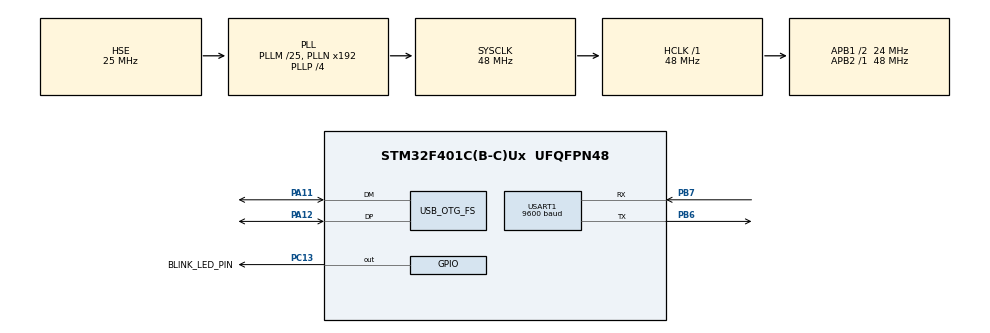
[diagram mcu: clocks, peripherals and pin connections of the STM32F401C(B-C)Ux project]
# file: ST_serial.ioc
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Mcu.Family=STM32F4
Mcu.Name=STM32F401C(B-C)Ux
Mcu.Package=UFQFPN48
NVIC.OTG_FS_IRQn=true\:0\:0\:false\:false\:true\:false\:true\:true
NVIC.PriorityGroup=NVIC_PRIORITYGROUP_4
PA11.Mode=Device_Only
PA11.Signal=USB_OTG_FS_DM
PA12.Mode=Device_Only
PA12.Signal=USB_OTG_FS_DP
PA13.Mode=Serial_Wire
PA13.Signal=SYS_JTMS-SWDIO
PA14.Mode=Serial_Wire
PA14.Signal=SYS_JTCK-SWCLK
PB6.Mode=Asynchronous
PB6.Signal=USART1_TX
PB7.Mode=Asynchronous
PB7.Signal=USART1_RX
PC13-ANTI_TAMP.GPIO_Label=BLINK_LED_PIN
PC13-ANTI_TAMP.Signal=GPIO_Output
PH0\ -\ OSC_IN.Mode=HSE-External-Oscillator
PH0\ -\ OSC_IN.Signal=RCC_OSC_IN
PH1\ -\ OSC_OUT.Mode=HSE-External-Oscillator
PH1\ -\ OSC_OUT.Signal=RCC_OSC_OUT
ProjectManager.HeapSize=0x200
ProjectManager.StackSize=0x400
ProjectManager.TargetToolchain=STM32CubeIDE
RCC.48MHZClocksFreq_Value=48000000
RCC.AHBFreq_Value=48000000
RCC.APB1CLKDivider=RCC_HCLK_DIV2
RCC.APB1Freq_Value=24000000
RCC.APB1TimFreq_Value=48000000
RCC.APB2Freq_Value=48000000
RCC.APB2TimFreq_Value=48000000
RCC.CortexFreq_Value=48000000
RCC.HCLKFreq_Value=48000000
RCC.HSE_VALUE=25000000
RCC.HSI_VALUE=16000000
RCC.LSE_VALUE=32768
RCC.PLLM=25
RCC.PLLP=RCC_PLLP_DIV4
RCC.SYSCLKFreq_VALUE=48000000
RCC.SYSCLKSource=RCC_SYSCLKSOURCE_PLLCLK
RCC.VCOOutputFreq_Value=192000000
USART1.BaudRate=9600
USART1.VirtualMode=VM_ASYNC
USB_DEVICE.CLASS_NAME_FS=CDC
USB_DEVICE.VirtualMode=Cdc
USB_DEVICE.VirtualModeFS=Cdc_FS
USB_OTG_FS.VirtualMode=Device_Only
USB_OTG_FS.low_power_enable=DISABLE
VP_USB_DEVICE_VS_USB_DEVICE_CDC_FS.Mode=CDC_FS
board=custom

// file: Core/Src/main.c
/* USER CODE BEGIN Header */
/**
  ******************************************************************************
  * @file           : main.c
  * @brief          : Main program body
  ******************************************************************************
  * @attention
  *
  * Copyright (c) 2023 STMicroelectronics.
  * All rights reserved.
  *
  * This software is licensed under terms that can be found in the LICENSE file
  * in the root directory of this software component.
  * If no LICENSE file comes with this software, it is provided AS-IS.
  *
  ******************************************************************************
  */
/* USER CODE END Header */
#include "main.h"
#include "usb_device.h"

/* USER CODE BEGIN Includes */
#include <string.h>
#include "stm32f4xx.h"
#include "stm32f4xx_ll_rcc.h"
#include "stm32f4xx_ll_gpio.h"
#include "stm32f4xx_ll_usart.h"
#include "stm32f4xx_ll_usb.h"
/* USER CODE END Includes */

/* USER CODE BEGIN PD */
#define	BUF_SIZE	16
/* USER CODE END PD */

UART_HandleTypeDef huart1;

/* USER CODE BEGIN PV */
char buf[BUF_SIZE];
uint16_t i = 0;
uint16_t led_bool = 0;
uint8_t usb_out[32] = "Hello world from USB. \n";
uint8_t blink_led_cmd[32] = "Blink LED";
uint8_t usb_in[32];
/* USER CODE END PV */

void SystemClock_Config(void);
static void MX_GPIO_Init(void);
static void MX_USART1_UART_Init(void);
/* USER CODE BEGIN PFP */
void USART1_PutChar(char c);
void USART1_PutString(char *s);
uint16_t USART1_GetChar(void);
extern uint8_t CDC_Transmit_FS(uint8_t* Buf, uint16_t Len);
extern int8_t CDC_Receive_FS(uint8_t* Buf, uint32_t Len);
/* USER CODE END PFP */

/* USER CODE BEGIN 0 */

void USART1_PutChar(char c){
	// Wait until transmit data register is empty
	while (!LL_USART_IsActiveFlag_TXE(USART1));
	// Send a char using USART1
	LL_USART_TransmitData8(USART1, c);
}

void USART1_PutString(char *s){
	// Send a string
	while(*s)
	{
		USART1_PutChar(*s++);
	}
}

uint16_t USART1_GetChar(void){
	// Wait until data is received
	while (!LL_USART_IsActiveFlag_RXNE(USART1));
	// Read received char
	return LL_USART_ReceiveData8(USART1);
}

/* USER CODE END 0 */

int main(void)
{

  /* MCU Configuration--------------------------------------------------------*/

  /* Reset of all peripherals, Initializes the Flash interface and the Systick. */
  HAL_Init();

  /* Configure the system clock */
  SystemClock_Config();

  /* Initialize all configured peripherals */
  MX_GPIO_Init();
  MX_USART1_UART_Init();
  MX_USB_DEVICE_Init();

  /* Infinite loop */
  /* USER CODE BEGIN WHILE */
  while (1)
  {

	HAL_Delay(1000);
	CDC_Transmit_FS(usb_out,sizeof(usb_out));
	if(led_bool == 0){
		CDC_Receive_FS(usb_in,sizeof(usb_in));
	}

	if(strcmp((char *)blink_led_cmd, (char *)usb_in) == 0){
		HAL_GPIO_TogglePin(GPIOC, GPIO_PIN_13);
		HAL_Delay(1000);
		led_bool = 1;
	}

	/*
	// Read received char
	char c = USART1_GetChar();

	// Read chars until newline
	if (c != '\n')
	{
		// Concat char to buffer
		// If maximum buffer size is reached, then reset i to 0
		if (i < BUF_SIZE - 1)
		{
			buf[i] = c;
			i++;
		}
		else
		{
			buf[i] = c;
			i = 0;
		}
	}
	else
	{
		// Echo received string to USART1
		USART1_PutString(buf);
		USART1_PutChar('\n');

		// Clear buffer
		memset(&buf[0], 0, sizeof(buf));
		i = 0;
	}
	*/

    /* USER CODE END WHILE */

  }
}

void SystemClock_Config(void)
{
  RCC_OscInitTypeDef RCC_OscInitStruct = {0};
  RCC_ClkInitTypeDef RCC_ClkInitStruct = {0};

  /** Configure the main internal regulator output voltage
  */
  __HAL_RCC_PWR_CLK_ENABLE();
  __HAL_PWR_VOLTAGESCALING_CONFIG(PWR_REGULATOR_VOLTAGE_SCALE2);

  /** Initializes the RCC Oscillators according to the specified parameters
  * in the RCC_OscInitTypeDef structure.
  */
  RCC_OscInitStruct.OscillatorType = RCC_OSCILLATORTYPE_HSE;
  RCC_OscInitStruct.HSEState = RCC_HSE_ON;
  RCC_OscInitStruct.PLL.PLLState = RCC_PLL_ON;
  RCC_OscInitStruct.PLL.PLLSource = RCC_PLLSOURCE_HSE;
  RCC_OscInitStruct.PLL.PLLM = 25;
  RCC_OscInitStruct.PLL.PLLN = 192;
  RCC_OscInitStruct.PLL.PLLP = RCC_PLLP_DIV4;
  RCC_OscInitStruct.PLL.PLLQ = 4;
  if (HAL_RCC_OscConfig(&RCC_OscInitStruct) != HAL_OK)
  {
    Error_Handler();
  }

  /** Initializes the CPU, AHB and APB buses clocks
  */
  RCC_ClkInitStruct.ClockType = RCC_CLOCKTYPE_HCLK|RCC_CLOCKTYPE_SYSCLK
                              |RCC_CLOCKTYPE_PCLK1|RCC_CLOCKTYPE_PCLK2;
  RCC_ClkInitStruct.SYSCLKSource = RCC_SYSCLKSOURCE_PLLCLK;
  RCC_ClkInitStruct.AHBCLKDivider = RCC_SYSCLK_DIV1;
  RCC_ClkInitStruct.APB1CLKDivider = RCC_HCLK_DIV2;
  RCC_ClkInitStruct.APB2CLKDivider = RCC_HCLK_DIV1;

  if (HAL_RCC_ClockConfig(&RCC_ClkInitStruct, FLASH_LATENCY_1) != HAL_OK)
  {
    Error_Handler();
  }
}

static void MX_USART1_UART_Init(void)
{

  huart1.Instance = USART1;
  huart1.Init.BaudRate = 9600;
  huart1.Init.WordLength = UART_WORDLENGTH_8B;
  huart1.Init.StopBits = UART_STOPBITS_1;
  huart1.Init.Parity = UART_PARITY_NONE;
  huart1.Init.Mode = UART_MODE_TX_RX;
  huart1.Init.HwFlowCtl = UART_HWCONTROL_NONE;
  huart1.Init.OverSampling = UART_OVERSAMPLING_16;
  if (HAL_UART_Init(&huart1) != HAL_OK)
  {
    Error_Handler();
  }

}

static void MX_GPIO_Init(void)
{
  GPIO_InitTypeDef GPIO_InitStruct = {0};

  /* GPIO Ports Clock Enable */
  __HAL_RCC_GPIOC_CLK_ENABLE();
  __HAL_RCC_GPIOH_CLK_ENABLE();
  __HAL_RCC_GPIOA_CLK_ENABLE();
  __HAL_RCC_GPIOB_CLK_ENABLE();

  /*Configure GPIO pin Output Level */
  HAL_GPIO_WritePin(BLINK_LED_PIN_GPIO_Port, BLINK_LED_PIN_Pin, GPIO_PIN_RESET);

  /*Configure GPIO pin : BLINK_LED_PIN_Pin */
  GPIO_InitStruct.Pin = BLINK_LED_PIN_Pin;
  GPIO_InitStruct.Mode = GPIO_MODE_OUTPUT_PP;
  GPIO_InitStruct.Pull = GPIO_NOPULL;
  GPIO_InitStruct.Speed = GPIO_SPEED_FREQ_LOW;
  HAL_GPIO_Init(BLINK_LED_PIN_GPIO_Port, &GPIO_InitStruct);

}

void Error_Handler(void)
{
  __disable_irq();
  while (1)
  {
  }
}
